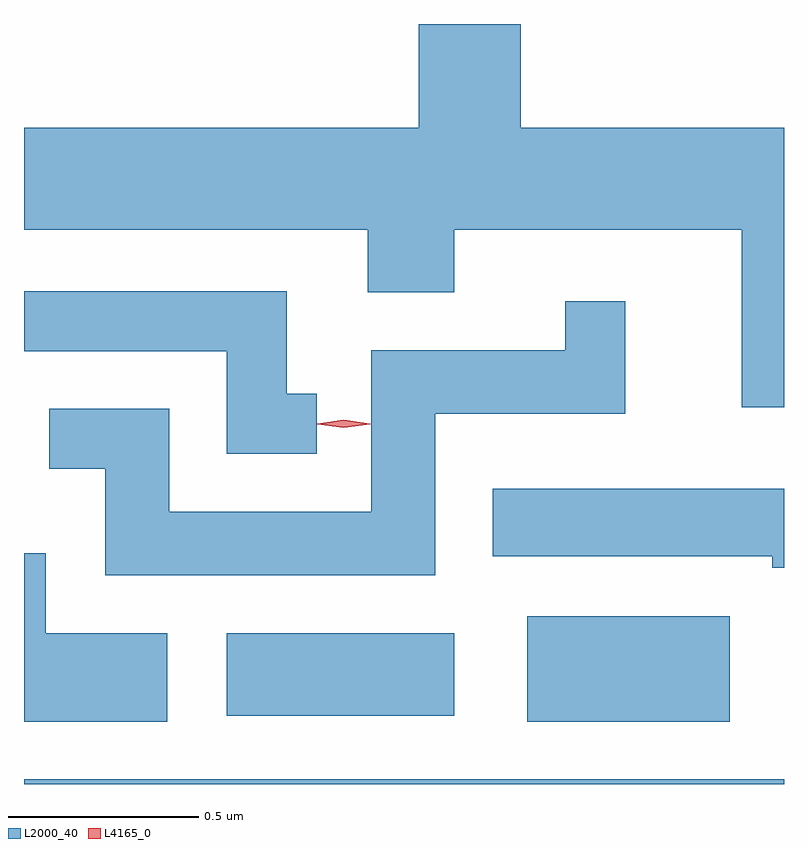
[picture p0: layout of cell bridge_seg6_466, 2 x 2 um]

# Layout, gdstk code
import gdstk
lib = gdstk.Library(unit=1e-6, precision=1e-09)
def R(c, l, rs):  # rectangles x0, y0, x1, y1
    for r in rs: c.add(gdstk.rectangle(r[:2], r[2:], *l))
def P(c, l, *ps):  # polygons
    for p in ps: c.add(gdstk.Polygon(p, *l))
L2000_40 = (2000, 40)
L4165_0 = (4165, 0)

bridge_seg6_466 = lib.new_cell('bridge_seg6_466')
R(bridge_seg6_466, L2000_40, [(833.417,1610.737,835.417,1610.749), (834.741,1610.901,835.274,1611.179), (833.951,1610.916,834.549,1611.134)])
P(bridge_seg6_466, L2000_40, [(835.417,1612.464),(834.724,1612.464),(834.724,1612.737),(834.456,1612.737),(834.456,1612.464),(833.417,1612.464),(833.417,1612.196),(834.321,1612.196),(834.321,1612.031),(834.549,1612.031),(834.549,1612.196),(835.306,1612.196),(835.306,1611.728),(835.417,1611.728)],
  [(834.188,1611.764),(834.109,1611.764),(834.109,1612.034),(833.417,1612.034),(833.417,1611.876),(833.951,1611.876),(833.951,1611.606),(834.188,1611.606)],
  [(834.499,1611.711),(834.999,1611.711),(834.999,1612.008),(834.841,1612.008),(834.841,1611.879),(834.331,1611.879),(834.331,1611.454),(833.799,1611.454),(833.799,1611.724),(833.483,1611.724),(833.483,1611.566),(833.631,1611.566),(833.631,1611.286),(834.499,1611.286)],
  [(835.417,1611.514),(834.651,1611.514),(834.651,1611.336),(835.386,1611.336),(835.386,1611.306),(835.417,1611.306)],
  [(833.794,1611.134),(833.474,1611.134),(833.474,1611.344),(833.417,1611.344),(833.417,1610.901),(833.794,1610.901)])
P(bridge_seg6_466, L4165_0, [(834.258,1611.675),(834.189,1611.684),(834.189,1611.685),(834.189,1611.685),(834.258,1611.695),(834.328,1611.685),(834.328,1611.684),(834.328,1611.684)])

lib.write_gds('bridge_seg6_466.gds')
